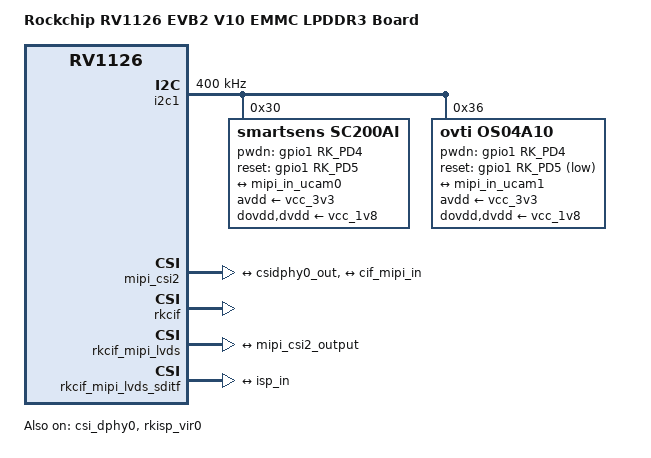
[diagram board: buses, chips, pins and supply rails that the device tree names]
// SPDX-License-Identifier: (GPL-2.0+ OR MIT)
/*
 * Copyright (c) 2024 Rockchip Electronics Co., Ltd.
 */

/dts-v1/;
#include "rv1126.dtsi"
#include "rv1126-evb2-v10.dtsi"

/ {
	model = "Rockchip RV1126 EVB2 V10 EMMC LPDDR3 Board";
	compatible = "rockchip,rv1126-evb2-v10-emmc", "rockchip,rv1126";

	chosen {
		bootargs = "earlycon=uart8250,mmio32,0xff570000 console=ttyFIQ0 root=PARTUUID=614e0000-0000 rootfstype=squashfs rootwait snd_aloop.index=7";
	};
};

&rockchip_suspend {
	status = "okay";
	rockchip,sleep-debug-en = <1>;
	rockchip,wakeup-config = <
		(0
		| RKPM_GPIO_WKUP_EN
		| RKPM_TIME_OUT_WKUP_EN
		)
	>;
};

&csi_dphy0 {
	status = "okay";

	ports {
		#address-cells = <1>;
		#size-cells = <0>;
		port@0 {
			reg = <0>;
			#address-cells = <1>;
			#size-cells = <0>;

			mipi_in_ucam0: endpoint@0 {
				reg = <0>;
				remote-endpoint = <&ucam_out0>;
				data-lanes = <1 2>;
			};
			mipi_in_ucam1: endpoint@1 {
				reg = <1>;
				remote-endpoint = <&ucam_out1>;
				data-lanes = <1 2 3 4>;
			};
		};
		port@1 {
			reg = <1>;
			#address-cells = <1>;
			#size-cells = <0>;

			csidphy0_out: endpoint@0 {
				reg = <0>;
				remote-endpoint = <&mipi_csi2_input>;
			};
		};
	};
};

&i2c1 {
	status = "okay";
	clock-frequency = <400000>;

	sc200ai: sc200ai@30 {
		compatible = "smartsens,sc200ai";
		reg = <0x30>;
		clocks = <&cru CLK_MIPICSI_OUT>;
		clock-names = "xvclk";
		power-domains = <&power RV1126_PD_VI>;
		pinctrl-names = "rockchip,camera_default";
		pinctrl-0 = <&mipicsi_clk0>;
		avdd-supply = <&vcc_3v3>;
		dovdd-supply = <&vcc_1v8>;
		dvdd-supply = <&vcc_1v8>;
		pwdn-gpios = <&gpio1 RK_PD4 GPIO_ACTIVE_HIGH>;
		reset-gpios = <&gpio1 RK_PD5 GPIO_ACTIVE_HIGH>;
		rockchip,camera-module-index = <0>;
		rockchip,camera-module-facing = "back";
		rockchip,camera-module-name = "C7234A-400";
		rockchip,camera-module-lens-name = "30IRC-2MP-F20";
		port {
			ucam_out0: endpoint {
				remote-endpoint = <&mipi_in_ucam0>;
				data-lanes = <1 2>;
			};
		};
	};
	os04a10: os04a10@36 {
		compatible = "ovti,os04a10";
		reg = <0x36>;
		clocks = <&cru CLK_MIPICSI_OUT>;
		clock-names = "xvclk";
		power-domains = <&power RV1126_PD_VI>;
		pinctrl-names = "rockchip,camera_default";
		pinctrl-0 = <&mipicsi_clk0>;
		avdd-supply = <&vcc_3v3>;
		dovdd-supply = <&vcc_1v8>;
		dvdd-supply = <&vcc_1v8>;
		pwdn-gpios = <&gpio1 RK_PD4 GPIO_ACTIVE_HIGH>;
		reset-gpios = <&gpio1 RK_PD5 GPIO_ACTIVE_LOW>;
		rockchip,camera-module-stb = <1>;
		rockchip,camera-module-index = <0>;
		rockchip,camera-module-facing = "back";
		rockchip,camera-module-name = "CMK-OT1607-FV1";
		rockchip,camera-module-lens-name = "M12-40IRC-4MP-F16";
		port {
			ucam_out1: endpoint {
				remote-endpoint = <&mipi_in_ucam1>;
				data-lanes = <1 2 3 4>;
			};
		};

	};
};

&isp_reserved {
	size = <0x20000000>;
};

&mipi_csi2 {
	status = "okay";

	ports {
		#address-cells = <1>;
		#size-cells = <0>;

		port@0 {
			reg = <0>;
			#address-cells = <1>;
			#size-cells = <0>;

			mipi_csi2_input: endpoint@1 {
				reg = <1>;
				remote-endpoint = <&csidphy0_out>;
				data-lanes = <1 2 3 4>;
			};
		};

		port@1 {
			reg = <1>;
			#address-cells = <1>;
			#size-cells = <0>;

			mipi_csi2_output: endpoint@0 {
				reg = <0>;
				remote-endpoint = <&cif_mipi_in>;
				data-lanes = <1 2 3 4>;
			};
		};
	};
};

&rkcif {
	status = "okay";
};

&rkcif_mmu {
	status = "disabled";
};

&rkcif_mipi_lvds {
	status = "okay";

	port {
		/* MIPI CSI-2 endpoint */
		cif_mipi_in: endpoint {
			remote-endpoint = <&mipi_csi2_output>;
			data-lanes = <1 2 3 4>;
		};
	};
};

&rkcif_mipi_lvds_sditf {
	status = "okay";

	port {
		/* MIPI CSI-2 endpoint */
		mipi_lvds_sditf: endpoint {
			remote-endpoint = <&isp_in>;
			data-lanes = <1 2 3 4>;
		};
	};
};

&rkisp_vir0 {
	status = "okay";

	ports {
		port@0 {
			reg = <0>;
			#address-cells = <1>;
			#size-cells = <0>;

			isp_in: endpoint@0 {
				reg = <0>;
				remote-endpoint = <&mipi_lvds_sditf>;
			};
		};
	};
};
